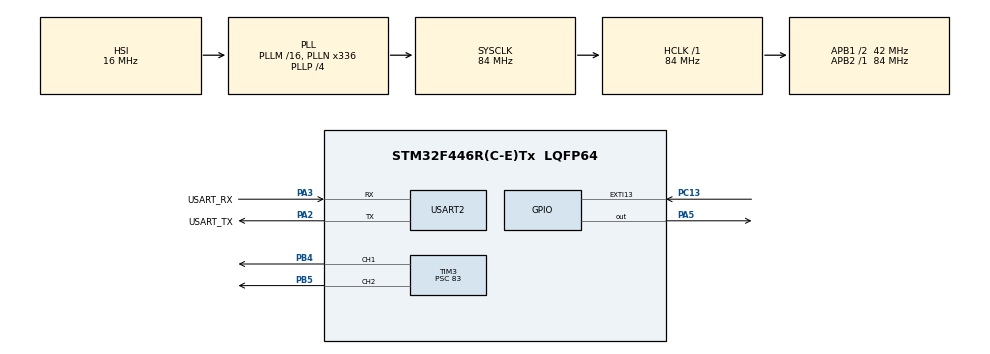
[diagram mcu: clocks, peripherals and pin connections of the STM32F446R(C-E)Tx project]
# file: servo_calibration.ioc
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Mcu.Family=STM32F4
Mcu.Name=STM32F446R(C-E)Tx
Mcu.Package=LQFP64
NUCLEO-F446RE.BUTTON=1
NUCLEO-F446RE.LD1=true
NVIC.EXTI15_10_IRQn=true\:0\:0\:false\:false\:true\:false\:true\:true
NVIC.PriorityGroup=NVIC_PRIORITYGROUP_0
PA13.GPIO_Label=TMS
PA13.Signal=SYS_JTMS-SWDIO
PA14.GPIO_Label=TCK
PA14.Signal=SYS_JTCK-SWCLK
PA2.GPIO_Label=USART_TX
PA2.Mode=Asynchronous
PA2.Signal=USART2_TX
PA3.GPIO_Label=USART_RX
PA3.Mode=Asynchronous
PA3.Signal=USART2_RX
PA5.Signal=GPIO_Output
PB3.GPIO_Label=SWO
PB3.Signal=SYS_JTDO-SWO
PB4.Signal=S_TIM3_CH1
PB5.Signal=S_TIM3_CH2
PC13.Signal=GPXTI13
PC14-OSC32_IN.Signal=RCC_OSC32_IN
PC15-OSC32_OUT.Signal=RCC_OSC32_OUT
PH0-OSC_IN.Signal=RCC_OSC_IN
PH1-OSC_OUT.Signal=RCC_OSC_OUT
ProjectManager.HeapSize=0x200
ProjectManager.StackSize=0x400
ProjectManager.TargetToolchain=CMake
RCC.AHBFreq_Value=84000000
RCC.APB1CLKDivider=RCC_HCLK_DIV2
RCC.APB1Freq_Value=42000000
RCC.APB1TimFreq_Value=84000000
RCC.APB2Freq_Value=84000000
RCC.APB2TimFreq_Value=84000000
RCC.CortexFreq_Value=84000000
RCC.FLatency-AdvancedSettings=FLASH_LATENCY_2
RCC.HCLKFreq_Value=84000000
RCC.HSE_VALUE=8000000
RCC.HSI_VALUE=16000000
RCC.LSE_VALUE=32768
RCC.PLLN=336
RCC.PLLP=RCC_PLLP_DIV4
RCC.SYSCLKFreq_VALUE=84000000
RCC.SYSCLKSource=RCC_SYSCLKSOURCE_PLLCLK
RCC.USBFreq_Value=168000000
RCC.VCOOutputFreq_Value=336000000
SH.S_TIM3_CH1.0=TIM3_CH1,PWM Generation1 CH1
SH.S_TIM3_CH2.0=TIM3_CH2,PWM Generation2 CH2
TIM3.Channel-PWM\ Generation1\ CH1=TIM_CHANNEL_1
TIM3.Channel-PWM\ Generation2\ CH2=TIM_CHANNEL_2
TIM3.Period=19999
TIM3.Prescaler=83
TIM3.Pulse-PWM\ Generation1\ CH1=1500
TIM3.Pulse-PWM\ Generation2\ CH2=1500
USART2.VirtualMode=VM_ASYNC
VP_NUCLEO-F446RE_VS_BSP_COMMON.Mode=COMMON
board=NUCLEO-F446RE

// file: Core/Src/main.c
/* USER CODE BEGIN Header */
/**
  ******************************************************************************
  * @file           : main.c
  * @brief          : Main program body
  ******************************************************************************
  * @attention
  *
  * Copyright (c) 2026 STMicroelectronics.
  * All rights reserved.
  *
  * This software is licensed under terms that can be found in the LICENSE file
  * in the root directory of this software component.
  * If no LICENSE file comes with this software, it is provided AS-IS.
  *
  ******************************************************************************
  */
/* USER CODE END Header */
#include "main.h"

/* USER CODE BEGIN Includes */

#include <stdio.h>
#include <stdlib.h>
#include <string.h>

/* USER CODE END Includes */

/* USER CODE BEGIN PD */

#define CAL_MIN_US     800    // reject commands outside this window
#define CAL_MAX_US     2400
#define START_US       1500
#define RAMP_STEP_US   10     // max change per ramp tick
#define RAMP_PERIOD_MS 20     // -> 500 us/s, gentle on a fresh print

/* USER CODE END PD */

TIM_HandleTypeDef htim3;

UART_HandleTypeDef huart2;

/* USER CODE BEGIN PV */

static uint16_t target[2]  = {START_US, START_US};
static uint16_t current[2] = {START_US, START_US};
static char line[16];
static uint8_t line_len = 0;

/* USER CODE END PV */

void SystemClock_Config(void);
static void MX_GPIO_Init(void);
static void MX_TIM3_Init(void);
static void MX_USART2_UART_Init(void);

/* USER CODE BEGIN 0 */

static const char axis_name[2] = {'Y', 'X'};  // [0] = CH1/PB4, [1] = CH2/PB5

static void uart_print(const char *s)
{
  HAL_UART_Transmit(&huart2, (uint8_t *)s, strlen(s), HAL_MAX_DELAY);
}

static void set_pwm(int ch, uint16_t us)
{
  __HAL_TIM_SET_COMPARE(&htim3, ch == 0 ? TIM_CHANNEL_1 : TIM_CHANNEL_2, us);
}

static void handle_line(char *s)
{
  char buf[64];
  if (strcmp(s, "c") == 0) {
    target[0] = target[1] = START_US;
    uart_print("both -> center\r\n");
    return;
  }
  if (strcmp(s, "?") == 0) {
    snprintf(buf, sizeof buf, "Y=%u X=%u\r\n", current[0], current[1]);
    uart_print(buf);
    return;
  }
  int ch;
  if (s[0] == 'y') ch = 0;
  else if (s[0] == 'x') ch = 1;
  else { uart_print("use: y 1500 | x 1500 | c | ?\r\n"); return; }

  long v = strtol(&s[1], NULL, 10);
  if (v < CAL_MIN_US || v > CAL_MAX_US) {
    snprintf(buf, sizeof buf, "rejected %ld (limits %d-%d)\r\n", v, CAL_MIN_US, CAL_MAX_US);
    uart_print(buf);
    return;
  }
  target[ch] = (uint16_t)v;
  snprintf(buf, sizeof buf, "%c -> %u\r\n", axis_name[ch], target[ch]);
  uart_print(buf);
}

/* USER CODE END 0 */

int main(void)
{

  /* MCU Configuration--------------------------------------------------------*/

  /* Reset of all peripherals, Initializes the Flash interface and the Systick. */
  HAL_Init();

  /* Configure the system clock */
  SystemClock_Config();

  /* Initialize all configured peripherals */
  MX_GPIO_Init();
  MX_TIM3_Init();
  MX_USART2_UART_Init();
  /* USER CODE BEGIN 2 */

  HAL_TIM_PWM_Start(&htim3, TIM_CHANNEL_1);
  HAL_TIM_PWM_Start(&htim3, TIM_CHANNEL_2);
  set_pwm(0, START_US);
  set_pwm(1, START_US);
  uart_print("\r\nServo cal ready. y <us>, x <us>, c = center, ? = status\r\n");
  uint32_t last_ramp = HAL_GetTick();

  /* USER CODE END 2 */

  /* Initialize leds */
  BSP_LED_Init(LED2);

  /* Initialize USER push-button, will be used to trigger an interrupt each time it's pressed.*/
  BSP_PB_Init(BUTTON_USER, BUTTON_MODE_EXTI);

  /* Infinite loop */
  while (1)
  {

    /* USER CODE BEGIN 3 */
    uint8_t c;
    if (HAL_UART_Receive(&huart2, &c, 1, 1) == HAL_OK) {
      if (c == '\r' || c == '\n') {
        if (line_len > 0) {
          uart_print("\r\n");
          line[line_len] = '\0';
          handle_line(line);
          line_len = 0;
        }
      } else if ((c == 0x08 || c == 0x7F) && line_len > 0) {
        line_len--;
        uart_print("\b \b");
      } else if (line_len < sizeof(line) - 1 && c >= 0x20 && c < 0x7F) {
        line[line_len++] = c;
        HAL_UART_Transmit(&huart2, &c, 1, HAL_MAX_DELAY);  // echo what you type
      }
    }

    if (HAL_GetTick() - last_ramp >= RAMP_PERIOD_MS) {
      last_ramp = HAL_GetTick();
      for (int i = 0; i < 2; i++) {
        if (current[i] < target[i])
          current[i] = (target[i] - current[i] > RAMP_STEP_US) ? current[i] + RAMP_STEP_US : target[i];
        else if (current[i] > target[i])
          current[i] = (current[i] - target[i] > RAMP_STEP_US) ? current[i] - RAMP_STEP_US : target[i];
        set_pwm(i, current[i]);
      }
    }
  }

  /* USER CODE END 3 */
}

void SystemClock_Config(void)
{
  RCC_OscInitTypeDef RCC_OscInitStruct = {0};
  RCC_ClkInitTypeDef RCC_ClkInitStruct = {0};

  /** Configure the main internal regulator output voltage
  */
  __HAL_RCC_PWR_CLK_ENABLE();
  __HAL_PWR_VOLTAGESCALING_CONFIG(PWR_REGULATOR_VOLTAGE_SCALE3);

  /** Initializes the RCC Oscillators according to the specified parameters
  * in the RCC_OscInitTypeDef structure.
  */
  RCC_OscInitStruct.OscillatorType = RCC_OSCILLATORTYPE_HSI;
  RCC_OscInitStruct.HSIState = RCC_HSI_ON;
  RCC_OscInitStruct.HSICalibrationValue = RCC_HSICALIBRATION_DEFAULT;
  RCC_OscInitStruct.PLL.PLLState = RCC_PLL_ON;
  RCC_OscInitStruct.PLL.PLLSource = RCC_PLLSOURCE_HSI;
  RCC_OscInitStruct.PLL.PLLM = 16;
  RCC_OscInitStruct.PLL.PLLN = 336;
  RCC_OscInitStruct.PLL.PLLP = RCC_PLLP_DIV4;
  RCC_OscInitStruct.PLL.PLLQ = 2;
  RCC_OscInitStruct.PLL.PLLR = 2;
  if (HAL_RCC_OscConfig(&RCC_OscInitStruct) != HAL_OK)
  {
    Error_Handler();
  }

  /** Initializes the CPU, AHB and APB buses clocks
  */
  RCC_ClkInitStruct.ClockType = RCC_CLOCKTYPE_HCLK|RCC_CLOCKTYPE_SYSCLK
                              |RCC_CLOCKTYPE_PCLK1|RCC_CLOCKTYPE_PCLK2;
  RCC_ClkInitStruct.SYSCLKSource = RCC_SYSCLKSOURCE_PLLCLK;
  RCC_ClkInitStruct.AHBCLKDivider = RCC_SYSCLK_DIV1;
  RCC_ClkInitStruct.APB1CLKDivider = RCC_HCLK_DIV2;
  RCC_ClkInitStruct.APB2CLKDivider = RCC_HCLK_DIV1;

  if (HAL_RCC_ClockConfig(&RCC_ClkInitStruct, FLASH_LATENCY_2) != HAL_OK)
  {
    Error_Handler();
  }
}

static void MX_TIM3_Init(void)
{

  TIM_MasterConfigTypeDef sMasterConfig = {0};
  TIM_OC_InitTypeDef sConfigOC = {0};

  htim3.Instance = TIM3;
  htim3.Init.Prescaler = 83;
  htim3.Init.CounterMode = TIM_COUNTERMODE_UP;
  htim3.Init.Period = 19999;
  htim3.Init.ClockDivision = TIM_CLOCKDIVISION_DIV1;
  htim3.Init.AutoReloadPreload = TIM_AUTORELOAD_PRELOAD_DISABLE;
  if (HAL_TIM_PWM_Init(&htim3) != HAL_OK)
  {
    Error_Handler();
  }
  sMasterConfig.MasterOutputTrigger = TIM_TRGO_RESET;
  sMasterConfig.MasterSlaveMode = TIM_MASTERSLAVEMODE_DISABLE;
  if (HAL_TIMEx_MasterConfigSynchronization(&htim3, &sMasterConfig) != HAL_OK)
  {
    Error_Handler();
  }
  sConfigOC.OCMode = TIM_OCMODE_PWM1;
  sConfigOC.Pulse = 1500;
  sConfigOC.OCPolarity = TIM_OCPOLARITY_HIGH;
  sConfigOC.OCFastMode = TIM_OCFAST_DISABLE;
  if (HAL_TIM_PWM_ConfigChannel(&htim3, &sConfigOC, TIM_CHANNEL_1) != HAL_OK)
  {
    Error_Handler();
  }
  if (HAL_TIM_PWM_ConfigChannel(&htim3, &sConfigOC, TIM_CHANNEL_2) != HAL_OK)
  {
    Error_Handler();
  }
  HAL_TIM_MspPostInit(&htim3);

}

static void MX_USART2_UART_Init(void)
{

  huart2.Instance = USART2;
  huart2.Init.BaudRate = 115200;
  huart2.Init.WordLength = UART_WORDLENGTH_8B;
  huart2.Init.StopBits = UART_STOPBITS_1;
  huart2.Init.Parity = UART_PARITY_NONE;
  huart2.Init.Mode = UART_MODE_TX_RX;
  huart2.Init.HwFlowCtl = UART_HWCONTROL_NONE;
  huart2.Init.OverSampling = UART_OVERSAMPLING_16;
  if (HAL_UART_Init(&huart2) != HAL_OK)
  {
    Error_Handler();
  }

}

static void MX_GPIO_Init(void)
{

  /* GPIO Ports Clock Enable */
  __HAL_RCC_GPIOC_CLK_ENABLE();
  __HAL_RCC_GPIOH_CLK_ENABLE();
  __HAL_RCC_GPIOA_CLK_ENABLE();
  __HAL_RCC_GPIOB_CLK_ENABLE();

}

void Error_Handler(void)
{
  __disable_irq();
  while (1)
  {
  }
}
